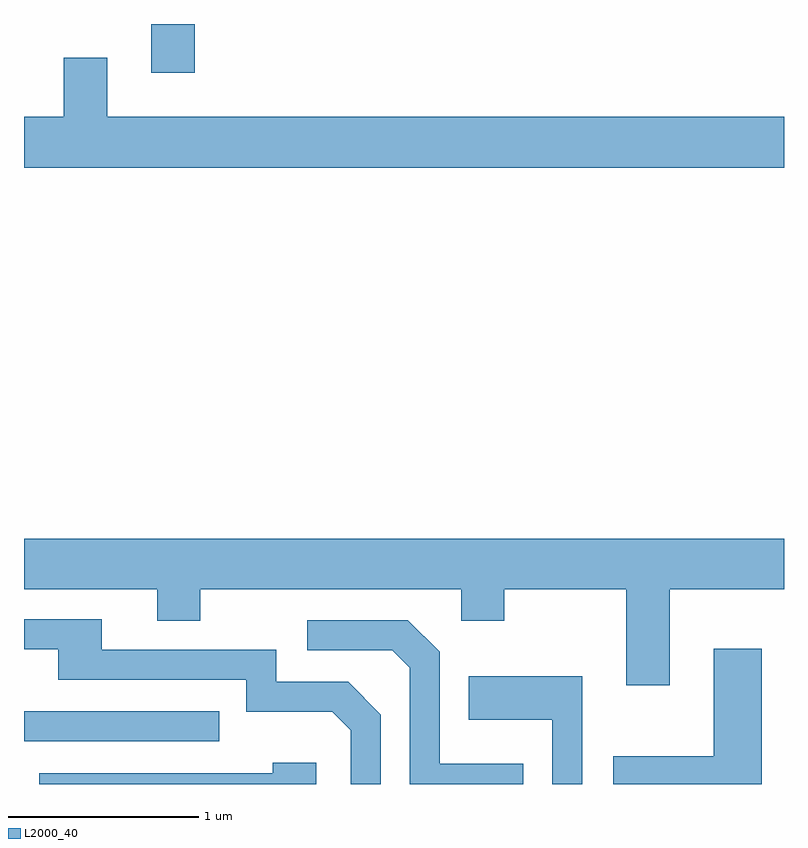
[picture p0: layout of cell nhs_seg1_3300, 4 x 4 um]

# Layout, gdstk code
import gdstk
lib = gdstk.Library(unit=1e-6, precision=1e-09)
def R(c, l, rs):  # rectangles x0, y0, x1, y1
    for r in rs: c.add(gdstk.rectangle(r[:2], r[2:], *l))
def P(c, l, *ps):  # polygons
    for p in ps: c.add(gdstk.Polygon(p, *l))
L2000_40 = (2000, 40)

nhs_seg1_3300 = lib.new_cell('nhs_seg1_3300')
R(nhs_seg1_3300, L2000_40, [(285.611,849.936,286.638,850.094), (286.281,853.456,286.509,853.712)])
P(nhs_seg1_3300, L2000_40, [(289.611,853.224),(286.049,853.224),(286.049,853.534),(285.821,853.534),(285.821,853.224),(285.611,853.224),(285.611,852.956),(289.611,852.956)],
  [(289.009,850.736),(289.611,850.736),(289.611,851.004),(285.611,851.004),(285.611,850.736),(286.311,850.736),(286.311,850.571),(286.539,850.571),(286.539,850.736),(287.911,850.736),(287.911,850.571),(288.139,850.571),(288.139,850.736),(288.781,850.736),(288.781,850.231),(289.009,850.231)],
  [(287.489,850.077),(287.317,850.249),(286.939,850.249),(286.939,850.419),(286.019,850.419),(286.019,850.579),(285.611,850.579),(285.611,850.421),(285.791,850.421),(285.791,850.261),(286.781,850.261),(286.781,850.091),(287.234,850.091),(287.331,849.994),(287.331,849.712),(287.489,849.712)],
  [(288.239,849.819),(287.799,849.819),(287.799,850.407),(287.632,850.574),(287.103,850.574),(287.103,850.416),(287.549,850.416),(287.641,850.324),(287.641,849.712),(288.239,849.712)],
  [(289.494,850.424),(289.241,850.424),(289.241,849.859),(288.711,849.859),(288.711,849.712),(289.494,849.712)],
  [(288.549,850.279),(287.951,850.279),(287.951,850.051),(288.391,850.051),(288.391,849.712),(288.549,849.712)],
  [(287.149,849.824),(286.921,849.824),(286.921,849.769),(285.691,849.769),(285.691,849.712),(287.149,849.712)])

lib.write_gds('nhs_seg1_3300.gds')
